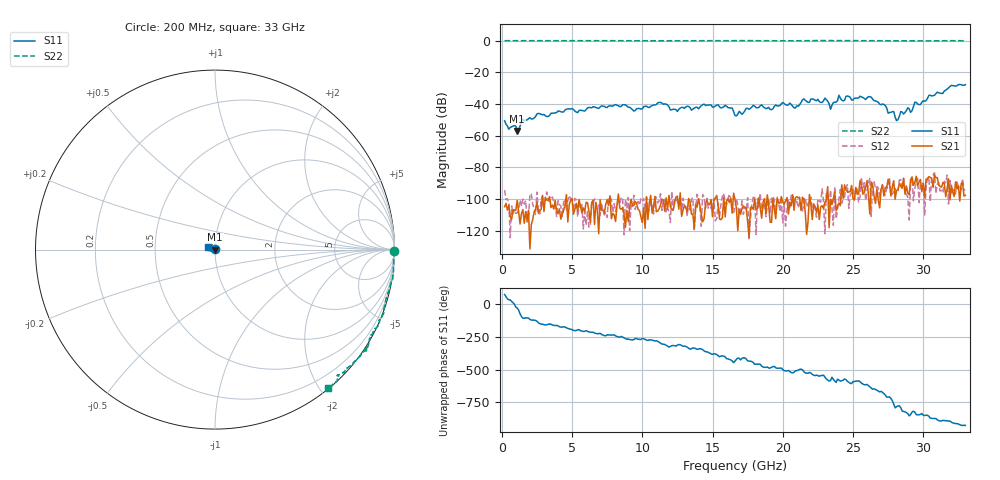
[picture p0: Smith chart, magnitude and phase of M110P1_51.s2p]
# GHZ S RI R 50
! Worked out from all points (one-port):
!   329 points, 200 MHz to 33 GHz, reference 50 ohm
!   lowest |S11| = -57.1 dB at 1.1 GHz (marker M1), VSWR 1.00, Z = 50.1 - j0.0745 ohm
!   |S11| at or under -10 dB: start of sweep to end of sweep
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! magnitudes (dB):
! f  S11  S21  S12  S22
! 200 MHz  -50.6  -105.0  -94.4  0.0
! 1.1 GHz  -57.1  -100.9  -108.9  0.0
! 1.5 GHz  -49.7  -106.7  -100.1  0.0
! 2.6 GHz  -46.0  -109.0  -107.3  0.0
! 5.7 GHz  -44.1  -108.8  -103.5  0.0
! 8.7 GHz  -40.4  -109.5  -122.7  0.0
! 9.4 GHz  -44.5  -104.2  -97.7  0.0
! 11.2 GHz  -39.0  -106.3  -101.1  -0.1
! 12.5 GHz  -44.7  -98.3  -101.7  -0.1
! 15.9 GHz  -40.9  -111.4  -102.3  0.0
! 16.6 GHz  -47.3  -100.2  -104.9  0.0
! 17.9 GHz  -40.9  -106.6  -99.0  0.0
! 20.9 GHz  -42.6  -99.4  -102.3  -0.1
! 22.1 GHz  -36.8  -113.0  -105.8  0.0
! 23 GHz  -36.3  -102.1  -122.0  0.0
! 23.4 GHz  -43.4  -100.3  -94.4  0.1
! 24 GHz  -34.5  -102.6  -99.9  0.0
! 26.2 GHz  -35.4  -109.5  -86.6  0.0
! 27.6 GHz  -45.4  -90.6  -86.5  -0.1
! 28.1 GHz  -50.5  -94.6  -96.2  -0.1
! 29.4 GHz  -38.9  -89.6  -93.1  -0.1
! 33 GHz  -27.9  -97.7  -94.3  -0.1
